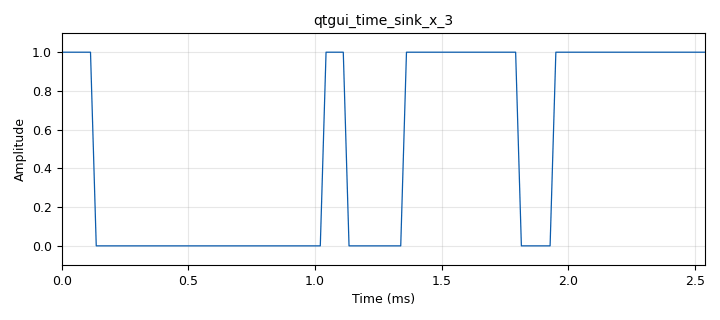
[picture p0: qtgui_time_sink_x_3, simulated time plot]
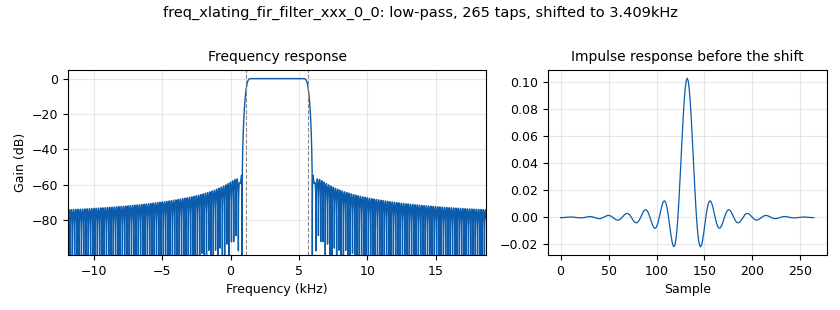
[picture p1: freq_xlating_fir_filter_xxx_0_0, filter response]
options:
  parameters:
    author: localuser
    generate_options: qt_gui
    id: VectorTest
    output_language: python
    title: VectorTesting
  states: {}

blocks:
- name: samp_rate
  id: variable
  parameters:
    value: '44100'
  states: {}
- name: analog_const_source_x_0
  id: analog_const_source_x
  parameters:
    const: '1'
    type: float
  states: {}
- name: analog_sig_source_x_0
  id: analog_sig_source_x
  parameters:
    amp: '1'
    freq: '2127.659'
    offset: '0'
    phase: '0'
    samp_rate: samp_rate
    type: float
    waveform: analog.GR_COS_WAVE
  states: {}
- name: analog_sig_source_x_0_0
  id: analog_sig_source_x
  parameters:
    amp: '1'
    freq: '4545.454545'
    offset: '0'
    phase: '0'
    samp_rate: samp_rate
    type: float
    waveform: analog.GR_COS_WAVE
  states: {}
- name: analog_simple_squelch_cc_1_0
  id: analog_simple_squelch_cc
  parameters:
    alpha: '1'
    threshold: '-20'
  states: {}
- name: blocks_add_xx_0
  id: blocks_add_xx
  parameters:
    type: float
  states: {}
- name: blocks_char_to_float_0
  id: blocks_char_to_float
  parameters:
    scale: '1'
  states: {}
- name: blocks_char_to_float_1
  id: blocks_char_to_float
  parameters:
    scale: '1'
  states: {}
- name: blocks_file_sink_0
  id: blocks_file_sink
  parameters:
    file: /home/neckolus/Desktop/GNUgang/virtualSource/virtualFloatOut
    type: float
  states: {}
- name: blocks_multiply_xx_0
  id: blocks_multiply_xx
  parameters:
    type: float
  states: {}
- name: blocks_multiply_xx_0_0
  id: blocks_multiply_xx
  parameters:
    type: float
  states: {}
- name: blocks_repeat_0
  id: blocks_repeat
  parameters:
    interp: '100'
    type: byte
  states: {}
- name: blocks_sub_xx_0
  id: blocks_sub_xx
  parameters:
    type: float
  states: {}
- name: blocks_throttle_0
  id: blocks_throttle
  parameters:
    samples_per_second: samp_rate
    type: float
  states: {}
- name: blocks_vector_source_x_0
  id: blocks_vector_source_x
  parameters:
    comment: For some reason the vector is being inversersed ( 0->1 and vice a verse a)
    repeat: 'False'
    type: byte
    vector: '[1,1,1,1,1,1,1,1,0,1,1,0,0,0,0,1,0,0,0,0,0,0,0,0]'
  states: {}
- name: digital_gfsk_demod_0
  id: digital_gfsk_demod
  parameters:
    freq_error: '0.0'
    gain_mu: '0.175'
    mu: '0.5'
    omega_relative_limit: '0.005'
    samples_per_symbol: '2'
    sensitivity: '1.0'
  states: {}
- name: freq_xlating_fir_filter_xxx_0_0
  id: freq_xlating_fir_filter_xxx
  parameters:
    center_freq: '3409'
    decim: '10'
    samp_rate: samp_rate
    taps: firdes.low_pass(1.0,samp_rate,2273,400)
    type: fcc
  states: {}
- name: qtgui_time_sink_x_0
  id: qtgui_time_sink_x
  parameters:
    size: '1024'
    srate: samp_rate
    type: float
  states: {state: disabled}
- name: qtgui_time_sink_x_3
  id: qtgui_time_sink_x
  parameters:
    size: '1024'
    srate: samp_rate
    tr_level: '0.3'
    tr_mode: qtgui.TRIG_MODE_AUTO
    type: float
    ymax: '1.1'
    ymin: '-0.1'
  states: {}

connections:
- [analog_const_source_x_0, '0', blocks_sub_xx_0, '0']
- [analog_sig_source_x_0, '0', blocks_multiply_xx_0, '0']
- [analog_sig_source_x_0_0, '0', blocks_multiply_xx_0_0, '0']
- [analog_simple_squelch_cc_1_0, '0', digital_gfsk_demod_0, '0']
- [blocks_add_xx_0, '0', blocks_throttle_0, '0']
- [blocks_char_to_float_0, '0', blocks_multiply_xx_0, '1']
- [blocks_char_to_float_0, '0', blocks_sub_xx_0, '1']
- [blocks_char_to_float_1, '0', blocks_file_sink_0, '0']
- [blocks_char_to_float_1, '0', qtgui_time_sink_x_3, '0']
- [blocks_multiply_xx_0, '0', blocks_add_xx_0, '0']
- [blocks_multiply_xx_0_0, '0', blocks_add_xx_0, '1']
- [blocks_repeat_0, '0', blocks_char_to_float_0, '0']
- [blocks_sub_xx_0, '0', blocks_multiply_xx_0_0, '1']
- [blocks_throttle_0, '0', freq_xlating_fir_filter_xxx_0_0, '0']
- [blocks_throttle_0, '0', qtgui_time_sink_x_0, '0']
- [blocks_vector_source_x_0, '0', blocks_repeat_0, '0']
- [digital_gfsk_demod_0, '0', blocks_char_to_float_1, '0']
- [freq_xlating_fir_filter_xxx_0_0, '0', analog_simple_squelch_cc_1_0, '0']

metadata:
  file_format: 1
